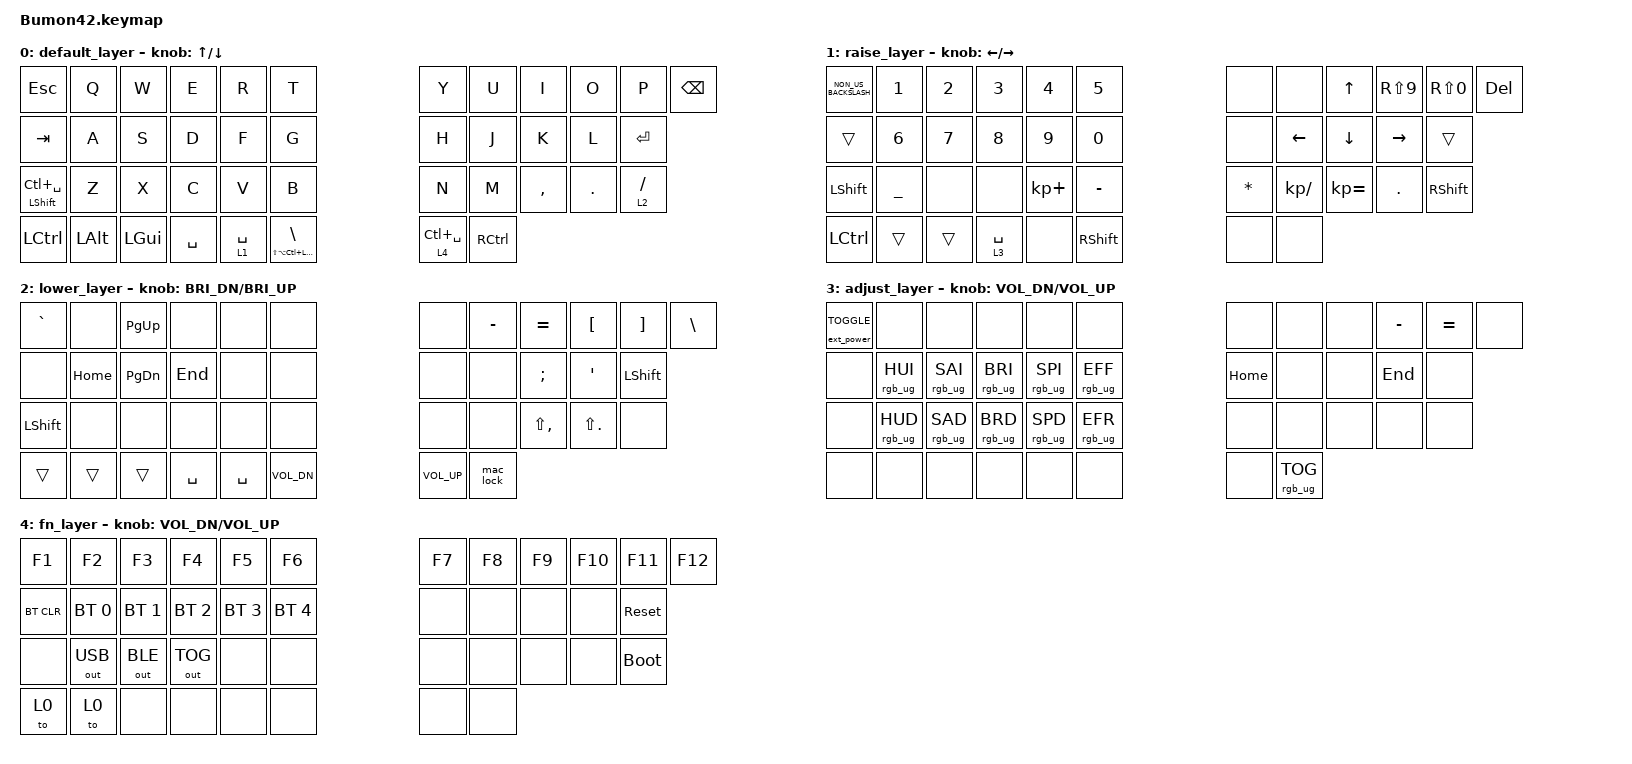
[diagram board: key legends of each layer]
#include <behaviors.dtsi>
#include <dt-bindings/zmk/bt.h>
#include <dt-bindings/zmk/ext_power.h>
#include <dt-bindings/zmk/keys.h>
#include <dt-bindings/zmk/outputs.h>
#include <dt-bindings/zmk/rgb.h>

// changed lwr and rse

#define DEF 0
#define GAM 1
#define RSE 2
#define LWR 3
#define ADJ 4
#define FN  5

/ {
    macros {
        mac_lock: mac_lock {
            compatible = "zmk,behavior-macro";
            label = "MAC_LOCK";
            #binding-cells = <0>;
            bindings = <&kp LC(LG(Q))>;
        };
    };

    keymap {
        compatible = "zmk,keymap";

        default_layer {
            bindings = <
&kp ESC              &kp Q     &kp W     &kp E      &kp R        &kp T                           &kp Y            &kp U      &kp I      &kp O    &kp P        &kp BSPC
&kp TAB              &kp A     &kp S     &kp D      &kp F        &kp G                           &kp H            &kp J      &kp K      &kp L    &kp ENTER
&mt LSHFT LC(SPACE)  &kp Z     &kp X     &kp C      &kp V        &kp B                           &kp N            &kp M      &kp COMMA  &kp DOT  &lt 2 SLASH
&kp LCTRL            &kp LALT  &kp LGUI  &kp SPACE  &lt 1 SPACE  &mt LS(LA(LC(LGUI))) BACKSLASH  &lt 4 LC(SPACE)  &kp RCTRL
            >;

            sensor-bindings = <&inc_dec_kp UP DOWN>;
        };

        raise_layer {
            bindings = <
&kp NON_US_BACKSLASH  &kp N1     &kp N2  &kp N3       &kp N4       &kp N5           &none         &none           &kp UP        &kp RS(N9)  &kp RS(N0)  &kp DELETE
&trans                &kp N6     &kp N7  &kp N8       &kp N9       &kp N0           &none         &kp LEFT_ARROW  &kp DOWN      &kp RIGHT   &trans
&kp LSHFT             &kp UNDER  &none   &none        &kp KP_PLUS  &kp MINUS        &kp ASTERISK  &kp KP_DIVIDE   &kp KP_EQUAL  &kp DOT     &kp RSHFT
&kp LCTRL             &trans     &trans  &lt 3 SPACE  &none        &kp RIGHT_SHIFT  &none         &none
            >;

            sensor-bindings = <&inc_dec_kp LEFT RIGHT>;
        };

        lower_layer {
            bindings = <
&kp GRAVE  &none     &kp PAGE_UP    &none      &none      &none         &none         &kp MINUS  &kp EQUAL      &kp LBKT     &kp RBKT        &kp BSLH
&none      &kp HOME  &kp PAGE_DOWN  &kp END    &none      &none         &none         &none      &kp SEMI       &kp SQT      &kp LEFT_SHIFT
&kp LSHFT  &none     &none          &none      &none      &none         &none         &none      &kp LS(COMMA)  &kp LS(DOT)  &none
&trans     &trans    &trans         &kp SPACE  &kp SPACE  &kp C_VOL_DN  &kp C_VOL_UP  &mac_lock
            >;

            sensor-bindings = <&inc_dec_kp C_BRI_DN C_BRI_UP>;
        };

        adjust_layer {
            bindings = <
&ext_power EXT_POWER_TOGGLE_CMD  &none            &none            &none            &none            &none            &none     &none            &none  &kp MINUS  &kp EQUAL  &none
&none                            &rgb_ug RGB_HUI  &rgb_ug RGB_SAI  &rgb_ug RGB_BRI  &rgb_ug RGB_SPI  &rgb_ug RGB_EFF  &kp HOME  &none            &none  &kp END    &none
&none                            &rgb_ug RGB_HUD  &rgb_ug RGB_SAD  &rgb_ug RGB_BRD  &rgb_ug RGB_SPD  &rgb_ug RGB_EFR  &none     &none            &none  &none      &none
&none                            &none            &none            &none            &none            &none            &none     &rgb_ug RGB_TOG
            >;

            sensor-bindings = <&inc_dec_kp C_VOL_DN C_VOL_UP>;
        };

        fn_layer {
            bindings = <
&kp F1      &kp F2        &kp F3        &kp F4        &kp F5        &kp F6        &kp F7  &kp F8  &kp F9  &kp F10  &kp F11      &kp F12
&bt BT_CLR  &bt BT_SEL 0  &bt BT_SEL 1  &bt BT_SEL 2  &bt BT_SEL 3  &bt BT_SEL 4  &none   &none   &none   &none    &sys_reset
&none       &out OUT_USB  &out OUT_BLE  &out OUT_TOG  &none         &none         &none   &none   &none   &none    &bootloader
&to 0       &to 0         &none         &none         &none         &none         &none   &none
            >;

            sensor-bindings = <&inc_dec_kp C_VOL_DN C_VOL_UP>;
        };
    };
};
